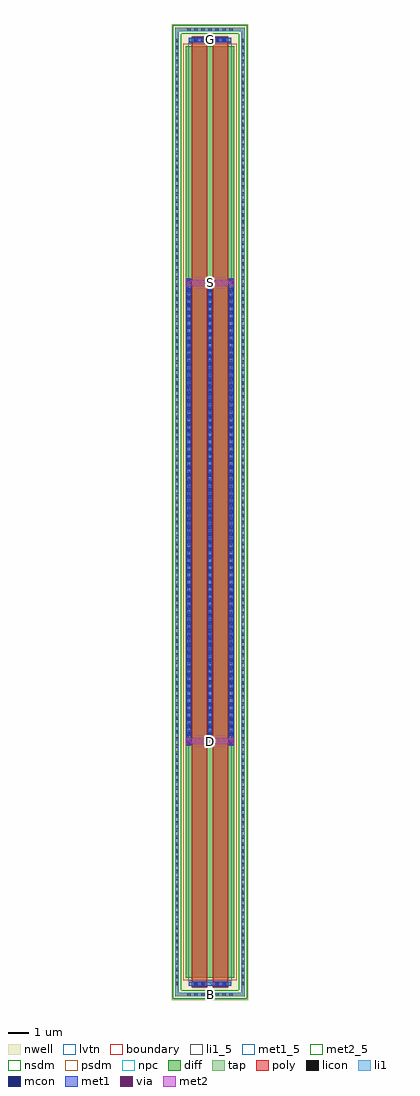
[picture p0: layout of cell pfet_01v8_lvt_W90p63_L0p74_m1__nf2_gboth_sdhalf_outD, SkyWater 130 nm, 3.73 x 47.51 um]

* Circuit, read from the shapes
.subckt pfet_01v8_lvt_W90p63_L0p74_m1__nf2_gboth_sdhalf_outD B D G S
XM1 S G D B sky130_fd_pr__pfet_01v8_lvt w=45.32 l=0.74 m=2
.ends

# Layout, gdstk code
import gdstk
lib = gdstk.Library(unit=1e-6, precision=1e-09)
def R(c, l, rs):  # rectangles x0, y0, x1, y1
    for r in rs: c.add(gdstk.rectangle(r[:2], r[2:], *l))
def A(c, l, x, y, w, h, nx, ny, dx, dy):  # array of equal rectangles
    R(c, l, [(x+i*dx, y+j*dy, x+i*dx+w, y+j*dy+h) for i in range(nx) for j in range(ny)])
nwell = (64, 20)
diff = (65, 20)
tap = (65, 44)
poly = (66, 20)
licon = (66, 44)
li1_5 = (67, 5)
li1 = (67, 20)
mcon = (67, 44)
met1_5 = (68, 5)
met1 = (68, 20)
via = (68, 44)
met2_5 = (69, 5)
met2 = (69, 20)
nsdm = (93, 44)
psdm = (94, 20)
npc = (95, 20)
lvtn = (125, 44)
boundary = (235, 4)

sky130_fd_pr__pfet_01v8_ = lib.new_cell('sky130_fd_pr__pfet_01v8_lvt_TEWA69')
R(sky130_fd_pr__pfet_01v8_, nwell, [(-1.865,-23.755,1.865,23.755)])
R(sky130_fd_pr__pfet_01v8_, diff, [(-1.175,-22.66,1.175,22.66)])
R(sky130_fd_pr__pfet_01v8_, tap, [(-1.685,-23.575,1.685,-23.405), (-1.685,-23.405,-1.515,23.405), (1.515,-23.405,1.685,23.405), (-1.685,23.405,1.685,23.575)])
R(sky130_fd_pr__pfet_01v8_, poly, [(-0.885,-23.145,-0.145,23.145), (0.145,-23.145,0.885,23.145)])
A(sky130_fd_pr__pfet_01v8_, licon, -1.105, -23.575, 0.17, 0.17, 7, 2, 0.34, 46.98)
A(sky130_fd_pr__pfet_01v8_, licon, -1.685, -23.035, 0.17, 0.17, 1, 136, 0, 0.34)
A(sky130_fd_pr__pfet_01v8_, licon, 1.515, -23.035, 0.17, 0.17, 1, 136, 0, 0.34)
A(sky130_fd_pr__pfet_01v8_, licon, -1.115, -11.135, 0.17, 0.17, 3, 66, 1.03, 0.34)
R(sky130_fd_pr__pfet_01v8_, licon, [(-0.77,-23.065,-0.6,-22.895), (-0.43,-23.065,-0.26,-22.895), (0.26,-23.065,0.43,-22.895), (0.6,-23.065,0.77,-22.895), (-0.77,22.895,-0.6,23.065), (-0.43,22.895,-0.26,23.065), (0.26,22.895,0.43,23.065), (0.6,22.895,0.77,23.065)])
A(sky130_fd_pr__pfet_01v8_, li1, -1.115, -11.38, 0.17, 22.76, 3, 1, 1.03, 0)
R(sky130_fd_pr__pfet_01v8_, li1, [(-1.685,-23.575,1.685,-23.405), (-1.685,-23.405,-1.515,23.405), (1.515,-23.405,1.685,23.405), (-1.03,-23.065,1.03,-22.895), (-1.03,22.895,1.03,23.065), (-1.685,23.405,1.685,23.575)])
A(sky130_fd_pr__pfet_01v8_, mcon, -1.115, -11.245, 0.17, 0.17, 3, 63, 1.03, 0.36)
R(sky130_fd_pr__pfet_01v8_, mcon, [(-0.78,-23.065,-0.61,-22.895), (-0.42,-23.065,-0.25,-22.895), (0.25,-23.065,0.42,-22.895), (0.61,-23.065,0.78,-22.895), (-0.78,22.895,-0.61,23.065), (-0.42,22.895,-0.25,23.065), (0.25,22.895,0.42,23.065), (0.61,22.895,0.78,23.065)])
A(sky130_fd_pr__pfet_01v8_, met1, -1.145, -11.36, 0.23, 22.72, 3, 1, 1.03, 0)
R(sky130_fd_pr__pfet_01v8_, met1, [(-0.865,-23.095,-0.165,-23.065), (0.165,-23.095,0.865,-23.065), (-1.03,-23.065,1.03,-22.895), (-0.865,-22.895,-0.165,-22.865), (0.165,-22.895,0.865,-22.865), (-0.865,22.865,-0.165,22.895), (0.165,22.865,0.865,22.895), (-1.03,22.895,1.03,23.065), (-0.865,23.065,-0.165,23.095), (0.165,23.065,0.865,23.095)])
R(sky130_fd_pr__pfet_01v8_, nsdm, [(-1.81,-23.7,1.81,-23.28), (-1.81,-23.28,-1.39,23.28), (1.39,-23.28,1.81,23.28), (-1.81,23.28,1.81,23.7)])
R(sky130_fd_pr__pfet_01v8_, psdm, [(-1.3,-22.785,1.3,22.785)])
R(sky130_fd_pr__pfet_01v8_, npc, [(-0.87,-23.165,-0.16,-22.795), (0.16,-23.165,0.87,-22.795), (-0.87,22.795,-0.16,23.165), (0.16,22.795,0.87,23.165)])
R(sky130_fd_pr__pfet_01v8_, lvtn, [(-1.065,-22.84,1.065,22.84)])
R(sky130_fd_pr__pfet_01v8_, boundary, [(-1.6,-23.49,1.6,23.49)])
sky130_fd_pr__pfet_01v8_.add(gdstk.Label('B', (0,-23.49), layer=67, texttype=5))
sky130_fd_pr__pfet_01v8_.add(gdstk.Label('D0', (-1.03,0), layer=67, texttype=5))
sky130_fd_pr__pfet_01v8_.add(gdstk.Label('G', (0.515,22.98), layer=67, texttype=5))
sky130_fd_pr__pfet_01v8_.add(gdstk.Label('G', (-0.515,22.98), layer=67, texttype=5))
sky130_fd_pr__pfet_01v8_.add(gdstk.Label('S1', (0,0), layer=67, texttype=5))

pfet_01v8_lvt_w90p63_l0p = lib.new_cell('pfet_01v8_lvt_W90p63_L0p74_m1__nf2_gboth_sdhalf_outD')
R(pfet_01v8_lvt_w90p63_l0p, li1_5, [(1.515,-0.085,1.685,0.085)])
R(pfet_01v8_lvt_w90p63_l0p, li1, [(1.515,-0.085,1.685,0.085)])
R(pfet_01v8_lvt_w90p63_l0p, met1_5, [(0.57,46.355,2.63,46.585)])
R(pfet_01v8_lvt_w90p63_l0p, met1, [(0.44,12.18,0.7,12.5), (2.5,12.18,2.76,12.5), (1.47,34.48,1.73,34.8), (0.57,46.355,2.63,46.585)])
R(pfet_01v8_lvt_w90p63_l0p, via, [(0.495,12.265,0.645,12.415), (2.555,12.265,2.705,12.415), (1.525,34.565,1.675,34.715)])
R(pfet_01v8_lvt_w90p63_l0p, met2_5, [(0.435,12.18,2.765,12.5), (0.435,34.48,2.765,34.8)])
R(pfet_01v8_lvt_w90p63_l0p, met2, [(0.435,12.18,2.765,12.5), (0.435,34.48,2.765,34.8)])
pfet_01v8_lvt_w90p63_l0p.add(gdstk.Reference(sky130_fd_pr__pfet_01v8_, (1.6,23.49)))
pfet_01v8_lvt_w90p63_l0p.add(gdstk.Label('S', (1.6,34.64), layer=69, texttype=5))
pfet_01v8_lvt_w90p63_l0p.add(gdstk.Label('D', (1.6,12.34), layer=69, texttype=5))
pfet_01v8_lvt_w90p63_l0p.add(gdstk.Label('G', (1.6,46.47), layer=68, texttype=5))
pfet_01v8_lvt_w90p63_l0p.add(gdstk.Label('B', (1.6,0), layer=67, texttype=5))

lib.write_gds('pfet_01v8_lvt_W90p63_L0p74_m1__nf2_gboth_sdhalf_outD.gds')
